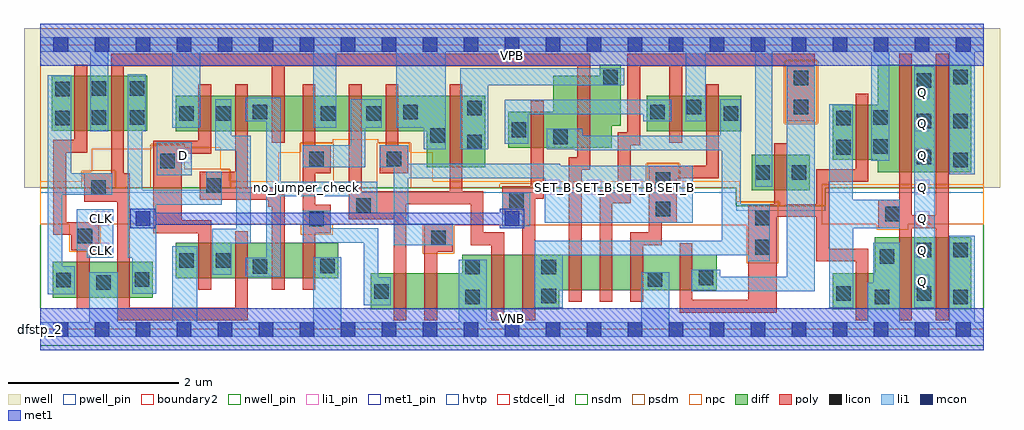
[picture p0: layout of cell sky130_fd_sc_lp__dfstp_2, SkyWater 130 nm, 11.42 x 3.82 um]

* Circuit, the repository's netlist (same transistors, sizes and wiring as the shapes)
* Copyright 2020 The SkyWater PDK Authors
*
* Licensed under the Apache License, Version 2.0 (the "License");
* you may not use this file except in compliance with the License.
* You may obtain a copy of the License at
*
*     https://www.apache.org/licenses/LICENSE-2.0
*
* Unless required by applicable law or agreed to in writing, software
* distributed under the License is distributed on an "AS IS" BASIS,
* WITHOUT WARRANTIES OR CONDITIONS OF ANY KIND, either express or implied.
* See the License for the specific language governing permissions and
* limitations under the License.
*
* SPDX-License-Identifier: Apache-2.0

.SUBCKT sky130_fd_sc_lp__dfstp_2 CLK D SET_B VGND VNB VPB VPWR Q
*.PININFO CLK:I D:I SET_B:I VGND:I VNB:I VPB:I VPWR:I Q:O
MI36 net120 M0 VGND VNB sky130_fd_pr__nfet_01v8 m=1 w=0.64U l=0.15U mult=1 sa=0.265
+ sb=0.265 sd=0.28 area=0.063 perim=1.14
MI42 db clkneg M0 VNB sky130_fd_pr__nfet_01v8 m=1 w=0.42U l=0.15U mult=1 sa=0.265
+ sb=0.265 sd=0.28 area=0.063 perim=1.14
MI44 clkneg CLK VGND VNB sky130_fd_pr__nfet_01v8 m=1 w=0.42U l=0.15U mult=1 sa=0.265
+ sb=0.265 sd=0.28 area=0.063 perim=1.14
MI39 db D VGND VNB sky130_fd_pr__nfet_01v8 m=1 w=0.42U l=0.15U mult=1 sa=0.265
+ sb=0.265 sd=0.28 area=0.063 perim=1.14
MI656 M1 M0 net103 VNB sky130_fd_pr__nfet_01v8 m=1 w=0.42U l=0.15U mult=1 sa=0.265
+ sb=0.265 sd=0.28 area=0.063 perim=1.14
MI654 net100 M1 VGND VNB sky130_fd_pr__nfet_01v8 m=1 w=0.42U l=0.15U mult=1 sa=0.265
+ sb=0.265 sd=0.28 area=0.063 perim=1.14
MI34 S0 clkpos net120 VNB sky130_fd_pr__nfet_01v8 m=1 w=0.64U l=0.15U mult=1 sa=0.265
+ sb=0.265 sd=0.28 area=0.063 perim=1.14
MI46 clkpos clkneg VGND VNB sky130_fd_pr__nfet_01v8 m=1 w=0.42U l=0.15U mult=1
+ sa=0.265 sb=0.265 sd=0.28 area=0.063 perim=1.14
MI25 net88 SET_B VGND VNB sky130_fd_pr__nfet_01v8 m=1 w=0.42U l=0.15U mult=1 sa=0.265
+ sb=0.265 sd=0.28 area=0.063 perim=1.14
MI26 S0 clkneg net80 VNB sky130_fd_pr__nfet_01v8 m=1 w=0.42U l=0.15U mult=1 sa=0.265
+ sb=0.265 sd=0.28 area=0.063 perim=1.14
MI27 net80 S1 net88 VNB sky130_fd_pr__nfet_01v8 m=1 w=0.42U l=0.15U mult=1 sa=0.265
+ sb=0.265 sd=0.28 area=0.063 perim=1.14
MI647 S1 S0 VGND VNB sky130_fd_pr__nfet_01v8 m=1 w=0.42U l=0.15U mult=1 sa=0.265
+ sb=0.265 sd=0.28 area=0.063 perim=1.14
MI655 M0 clkpos net100 VNB sky130_fd_pr__nfet_01v8 m=1 w=0.42U l=0.15U mult=1 sa=0.265
+ sb=0.265 sd=0.28 area=0.063 perim=1.14
MI657 net103 SET_B VGND VNB sky130_fd_pr__nfet_01v8 m=1 w=0.42U l=0.15U mult=1
+ sa=0.265 sb=0.265 sd=0.28 area=0.063 perim=1.14
MI652 net128 S0 VGND VNB sky130_fd_pr__nfet_01v8 m=1 w=0.42U l=0.15U mult=1 sa=0.265
+ sb=0.265 sd=0.28 area=0.063 perim=1.14
MI653 Q net128 VGND VNB sky130_fd_pr__nfet_01v8 m=2 w=0.84U l=0.15U mult=1 sa=0.265
+ sb=0.265 sd=0.28 area=0.063 perim=1.14
MI40 db D VPWR VPB sky130_fd_pr__pfet_01v8_hvt m=1 w=0.42U l=0.15U mult=1 sa=0.265
+ sb=0.265 sd=0.28 area=0.063 perim=1.14
MI38 S0 clkneg net179 VPB sky130_fd_pr__pfet_01v8_hvt m=1 w=0.84U l=0.15U mult=1
+ sa=0.265 sb=0.265 sd=0.28 area=0.063 perim=1.14
MI37 net179 M0 VPWR VPB sky130_fd_pr__pfet_01v8_hvt m=1 w=0.84U l=0.15U mult=1
+ sa=0.265 sb=0.265 sd=0.28 area=0.063 perim=1.14
MI43 db clkpos M0 VPB sky130_fd_pr__pfet_01v8_hvt m=1 w=0.42U l=0.15U mult=1 sa=0.265
+ sb=0.265 sd=0.28 area=0.063 perim=1.14
MI45 clkneg CLK VPWR VPB sky130_fd_pr__pfet_01v8_hvt m=1 w=0.64U l=0.15U mult=1
+ sa=0.265 sb=0.265 sd=0.28 area=0.063 perim=1.14
MI47 clkpos clkneg VPWR VPB sky130_fd_pr__pfet_01v8_hvt m=1 w=0.64U l=0.15U mult=1
+ sa=0.265 sb=0.265 sd=0.28 area=0.063 perim=1.14
MI659 M1 SET_B VPWR VPB sky130_fd_pr__pfet_01v8_hvt m=1 w=0.42U l=0.15U mult=1
+ sa=0.265 sb=0.265 sd=0.28 area=0.063 perim=1.14
MI662 net156 M1 VPWR VPB sky130_fd_pr__pfet_01v8_hvt m=1 w=0.42U l=0.15U mult=1
+ sa=0.265 sb=0.265 sd=0.28 area=0.063 perim=1.14
MI664 M0 clkneg net156 VPB sky130_fd_pr__pfet_01v8_hvt m=1 w=0.42U l=0.15U mult=1
+ sa=0.265 sb=0.265 sd=0.28 area=0.063 perim=1.14
MI6 net143 S1 VPWR VPB sky130_fd_pr__pfet_01v8_hvt m=1 w=0.42U l=0.15U mult=1 sa=0.265
+ sb=0.265 sd=0.28 area=0.063 perim=1.14
MI5 S0 clkpos net143 VPB sky130_fd_pr__pfet_01v8_hvt m=1 w=0.42U l=0.15U mult=1
+ sa=0.265 sb=0.265 sd=0.28 area=0.063 perim=1.14
MI24 S0 SET_B VPWR VPB sky130_fd_pr__pfet_01v8_hvt m=1 w=0.42U l=0.15U mult=1 sa=0.265
+ sb=0.265 sd=0.28 area=0.063 perim=1.14
MI648 S1 S0 VPWR VPB sky130_fd_pr__pfet_01v8_hvt m=1 w=0.42U l=0.15U mult=1 sa=0.265
+ sb=0.265 sd=0.28 area=0.063 perim=1.14
MI658 M1 M0 VPWR VPB sky130_fd_pr__pfet_01v8_hvt m=1 w=0.42U l=0.15U mult=1 sa=0.265
+ sb=0.265 sd=0.28 area=0.063 perim=1.14
MI663 net128 S0 VPWR VPB sky130_fd_pr__pfet_01v8_hvt m=1 w=0.64U l=0.15U mult=1
+ sa=0.265 sb=0.265 sd=0.28 area=0.063 perim=1.14
MI660 Q net128 VPWR VPB sky130_fd_pr__pfet_01v8_hvt m=2 w=1.26U l=0.15U mult=1
+ sa=0.265 sb=0.265 sd=0.28 area=0.063 perim=1.14
.ENDS sky130_fd_sc_lp__dfstp_2

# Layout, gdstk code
import gdstk
lib = gdstk.Library(unit=1e-6, precision=1e-09)
def R(c, l, rs):  # rectangles x0, y0, x1, y1
    for r in rs: c.add(gdstk.rectangle(r[:2], r[2:], *l))
def A(c, l, x, y, w, h, nx, ny, dx, dy):  # array of equal rectangles
    R(c, l, [(x+i*dx, y+j*dy, x+i*dx+w, y+j*dy+h) for i in range(nx) for j in range(ny)])
def P(c, l, *ps):  # polygons
    for p in ps: c.add(gdstk.Polygon(p, *l))
nwell_pin = (64, 16)
nwell = (64, 20)
diff = (65, 20)
poly = (66, 20)
licon = (66, 44)
li1_pin = (67, 16)
li1 = (67, 20)
mcon = (67, 44)
met1_pin = (68, 16)
met1 = (68, 20)
hvtp = (78, 44)
stdcell_id = (81, 4)
nsdm = (93, 44)
psdm = (94, 20)
npc = (95, 20)
pwell_pin = (122, 16)
boundary2 = (236, 0)

sky130_fd_sc_lp__dfstp_2 = lib.new_cell('sky130_fd_sc_lp__dfstp_2')
R(sky130_fd_sc_lp__dfstp_2, nwell_pin, [(0,3.085,11.04,3.33)])
P(sky130_fd_sc_lp__dfstp_2, nwell, [(11.23,3.52),(-0.19,3.52),(-0.19,1.655),(8.145,1.655),(8.145,1.445),(9.185,1.445),(9.185,1.655),(11.23,1.655)])
R(sky130_fd_sc_lp__dfstp_2, diff, [(0.145,0.37,1.315,0.79), (1.585,0.595,3.485,1.015), (8.325,1.625,9.005,2.045), (7.095,2.315,8.205,2.735), (0.135,2.325,1.255,2.965)])
P(sky130_fd_sc_lp__dfstp_2, diff, [(5.205,2.735),(1.585,2.735),(1.585,2.315),(4.525,2.315),(4.525,1.895),(5.205,1.895)],
  [(6.795,3.095),(6.545,3.095),(6.545,2.965),(6,2.965),(6,2.545),(5.475,2.545),(5.475,2.125),(6.685,2.125),(6.685,2.38),(6.795,2.38)],
  [(7.915,0.875),(4.935,0.875),(4.935,0.655),(3.87,0.655),(3.87,0.235),(6.075,0.235),(6.075,0.455),(7.915,0.455)],
  [(10.895,3.095),(9.8,3.095),(9.8,2.625),(9.275,2.625),(9.275,1.985),(9.8,1.985),(9.8,1.835),(10.895,1.835)],
  [(10.895,1.075),(9.765,1.075),(9.765,0.655),(9.275,0.655),(9.275,0.235),(10.895,0.235)])
P(sky130_fd_sc_lp__dfstp_2, poly, [(0.69,1.255),(0.305,1.255),(0.305,2.065),(0.55,2.065),(0.55,3.095),(0.4,3.095),(0.4,2.215),(0.155,2.215),(0.155,1.105),(0.36,1.105),(0.36,0.925),(0.43,0.925),(0.43,0.24),(0.58,0.24),(0.58,0.925),(0.69,0.925)],
  [(2,1.275),(1.655,1.275),(1.655,2.055),(2,2.055),(2,2.865),(1.85,2.865),(1.85,2.205),(1.325,2.205),(1.325,1.125),(1.85,1.125),(1.85,0.465),(2,0.465)],
  [(2.86,1.585),(2.82,1.585),(2.82,1.665),(2.43,1.665),(2.43,2.865),(2.28,2.865),(2.28,1.845),(1.865,1.845),(1.865,1.515),(2.67,1.515),(2.67,1.435),(2.71,1.435),(2.71,0.465),(2.86,0.465)],
  [(3.4,1.455),(3.22,1.455),(3.22,1.825),(3.4,1.825),(3.4,2.155),(3.22,2.155),(3.22,2.865),(3.07,2.865),(3.07,0.465),(3.22,0.465),(3.22,1.125),(3.4,1.125)],
  [(4.305,2.155),(4.19,2.155),(4.19,2.865),(4.04,2.865),(4.04,2.155),(3.975,2.155),(3.975,1.825),(4.305,1.825)],
  [(4.825,1.235),(4.495,1.235),(4.495,0.105),(4.645,0.105),(4.645,0.905),(4.825,0.905)],
  [(5.43,1.135),(5.185,1.135),(5.185,1.615),(4.94,1.615),(4.94,2.865),(4.79,2.865),(4.79,1.615),(3.76,1.615),(3.76,2.865),(3.61,2.865),(3.61,1.285),(4.135,1.285),(4.135,0.105),(4.285,0.105),(4.285,1.465),(5.035,1.465),(5.035,0.985),(5.28,0.985),(5.28,0.105),(5.43,0.105)],
  [(5.89,2.675),(5.74,2.675),(5.74,1.675),(5.405,1.675),(5.405,1.345),(5.64,1.345),(5.64,0.105),(5.79,0.105),(5.79,1.525),(5.89,1.525)],
  [(6.435,3.225),(0.83,3.225),(0.83,1.825),(0.515,1.825),(0.515,1.495),(0.9,1.495),(0.9,0.105),(2.43,0.105),(2.43,1.145),(2.28,1.145),(2.28,0.255),(1.05,0.255),(1.05,1.825),(0.98,1.825),(0.98,3.075),(2.71,3.075),(2.71,2.185),(2.86,2.185),(2.86,3.075),(6.285,3.075),(6.285,2.015),(6.185,2.015),(6.185,0.325),(6.335,0.325),(6.335,1.865),(6.435,1.865)],
  [(7.94,2.865),(7.79,2.865),(7.79,1.915),(7.12,1.915),(7.12,1.135),(6.905,1.135),(6.905,0.325),(7.055,0.325),(7.055,0.985),(7.27,0.985),(7.27,1.245),(7.45,1.245),(7.45,1.765),(7.94,1.765)],
  [(9.065,3.225),(6.87,3.225),(6.87,2.305),(6.76,2.305),(6.76,1.625),(6.545,1.625),(6.545,0.325),(6.695,0.325),(6.695,1.475),(6.91,1.475),(6.91,2.155),(7.02,2.155),(7.02,3.075),(7.36,3.075),(7.36,2.185),(7.51,2.185),(7.51,3.075),(8.735,3.075),(8.735,2.435),(9.065,2.435)],
  [(9.69,0.945),(9.23,0.945),(9.23,1.725),(9.69,1.725),(9.69,2.755),(9.54,2.755),(9.54,1.875),(9.08,1.875),(9.08,1.465),(8.74,1.465),(8.74,2.175),(8.59,2.175),(8.59,1.465),(8.285,1.465),(8.285,0.345),(7.63,0.345),(7.63,1.005),(7.48,1.005),(7.48,0.195),(8.615,0.195),(8.615,1.315),(9.08,1.315),(9.08,0.795),(9.54,0.795),(9.54,0.105),(9.69,0.105)],
  [(10.63,3.225),(10.48,3.225),(10.48,1.335),(10.2,1.335),(10.2,3.225),(10.05,3.225),(10.05,1.515),(9.805,1.515),(9.805,1.185),(10.05,1.185),(10.05,0.105),(10.2,0.105),(10.2,1.185),(10.48,1.185),(10.48,0.105),(10.63,0.105)])
R(sky130_fd_sc_lp__dfstp_2, licon, [(4.975,0.295,5.145,0.465), (9.765,0.295,9.935,0.465), (10.685,0.295,10.855,0.465), (5.865,0.305,6.035,0.475), (9.315,0.335,9.485,0.505), (10.255,0.335,10.425,0.505), (3.91,0.36,4.08,0.53), (0.655,0.46,0.825,0.63), (0.185,0.49,0.355,0.66), (1.105,0.495,1.275,0.665), (7.11,0.495,7.28,0.665), (7.705,0.515,7.875,0.685), (4.975,0.645,5.145,0.815), (5.865,0.645,6.035,0.815), (2.485,0.65,2.655,0.82), (3.275,0.655,3.445,0.825), (1.625,0.72,1.795,0.89), (2.055,0.72,2.225,0.89), (9.825,0.765,9.995,0.935), (10.255,0.845,10.425,1.015), (10.685,0.845,10.855,1.015), (8.365,0.875,8.535,1.045), (4.575,0.985,4.745,1.155), (0.44,1.005,0.61,1.175), (3.15,1.205,3.32,1.375), (8.365,1.215,8.535,1.385), (9.885,1.265,10.055,1.435), (7.2,1.325,7.37,1.495), (3.695,1.365,3.865,1.535), (5.485,1.425,5.655,1.595), (0.595,1.575,0.765,1.745), (1.945,1.595,2.115,1.765), (7.2,1.665,7.37,1.835), (8.365,1.75,8.535,1.92), (8.795,1.75,8.965,1.92), (1.405,1.885,1.575,2.055), (10.685,1.895,10.855,2.065), (3.15,1.905,3.32,2.075), (4.055,1.905,4.225,2.075), (10.255,1.93,10.425,2.1), (9.315,2.045,9.485,2.215), (9.745,2.055,9.915,2.225), (4.995,2.105,5.165,2.275), (6.005,2.165,6.175,2.335), (4.565,2.185,4.735,2.355), (5.515,2.25,5.685,2.42), (10.255,2.35,10.425,2.52), (10.685,2.355,10.855,2.525), (0.175,2.385,0.345,2.555), (9.315,2.385,9.485,2.555), (0.605,2.395,0.775,2.565), (1.045,2.395,1.215,2.565), (9.745,2.395,9.915,2.565), (1.625,2.44,1.795,2.61), (2.055,2.44,2.225,2.61), (3.285,2.44,3.455,2.61), (3.815,2.44,3.985,2.61), (7.995,2.44,8.165,2.61), (4.245,2.455,4.415,2.625), (7.135,2.455,7.305,2.625), (2.485,2.46,2.655,2.63), (4.995,2.505,5.165,2.675), (7.565,2.515,7.735,2.685), (8.815,2.515,8.985,2.685), (0.175,2.725,0.345,2.895), (0.605,2.735,0.775,2.905), (1.045,2.735,1.215,2.905), (10.255,2.825,10.425,2.995), (8.815,2.855,8.985,3.025), (6.585,2.865,6.755,3.035), (10.685,2.865,10.855,3.035)])
A(sky130_fd_sc_lp__dfstp_2, li1_pin, 10.235, 0.47, 0.17, 0.17, 1, 7, 0, 0.37)
A(sky130_fd_sc_lp__dfstp_2, li1_pin, 5.915, 1.58, 0.17, 0.17, 4, 1, 0.48, 0)
R(sky130_fd_sc_lp__dfstp_2, li1_pin, [(0.635,0.84,0.805,1.01), (0.635,1.21,0.805,1.38), (1.595,1.95,1.765,2.12)])
R(sky130_fd_sc_lp__dfstp_2, li1, [(10.225,0.255,10.465,3.075), (5.405,1.205,5.735,1.595), (1.365,1.805,1.775,2.19)])
P(sky130_fd_sc_lp__dfstp_2, li1, [(4.305,1.935),(6.085,1.935),(6.085,1.915),(7.635,1.915),(7.635,1.245),(5.905,1.245),(5.905,1.765),(4.305,1.765),(4.305,1.235),(4.825,1.235),(4.825,0.985),(4.135,0.985),(4.135,1.895),(3.975,1.895),(3.975,2.155),(4.305,2.155)],
  [(0.855,1.405),(0.43,1.405),(0.43,0.925),(0.545,0.925),(0.545,0.84),(0.855,0.84)],
  [(2.405,2.435),(2.405,2.71),(2.815,2.71),(2.815,1.725),(3.945,1.725),(3.945,1.355),(3.615,1.355),(3.615,1.555),(2.815,1.555),(2.815,0.615),(2.405,0.615),(2.405,0.835),(2.645,0.835),(2.645,2.435)],
  [(11.04,3.415),(0,3.415),(0,3.245),(0.585,3.245),(0.585,2.315),(0.795,2.315),(0.795,3.245),(1.545,3.245),(1.545,2.36),(1.875,2.36),(1.875,3.245),(3.195,3.245),(3.195,2.36),(3.465,2.36),(3.465,3.245),(4.165,3.245),(4.165,2.36),(4.485,2.36),(4.485,2.105),(4.745,2.105),(4.745,3.245),(7.555,3.245),(7.555,2.435),(7.785,2.435),(7.785,3.245),(8.365,3.245),(8.365,1.67),(8.565,1.67),(8.565,3.245),(9.725,3.245),(9.725,1.975),(9.935,1.975),(9.935,3.245),(10.635,3.245),(10.635,1.815),(10.935,1.815),(10.935,3.245),(11.04,3.245)],
  [(11.04,0.085),(10.935,0.085),(10.935,1.095),(10.635,1.095),(10.635,0.085),(10.055,0.085),(10.055,1.015),(9.745,1.015),(9.745,0.545),(9.685,0.545),(9.685,0.085),(7.36,0.085),(7.36,0.665),(7.03,0.665),(7.03,0.085),(5.225,0.085),(5.225,0.815),(4.895,0.815),(4.895,0.085),(3.525,0.085),(3.525,0.845),(3.195,0.845),(3.195,0.085),(1.84,0.085),(1.84,0.97),(1.545,0.97),(1.545,0.085),(0.905,0.085),(0.905,0.67),(0.575,0.67),(0.575,0.085),(0,0.085),(0,-0.085),(11.04,-0.085)],
  [(5.785,0.255),(5.785,1.035),(7.975,1.035),(7.975,2.095),(6.255,2.095),(6.255,2.105),(5.925,2.105),(5.925,2.345),(6.35,2.345),(6.35,2.265),(7.955,2.265),(7.955,2.69),(8.195,2.69),(8.195,1.465),(8.535,1.465),(8.535,0.795),(8.285,0.795),(8.285,0.865),(6.115,0.865),(6.115,0.255)],
  [(9.505,1.515),(10.055,1.515),(10.055,1.185),(9.515,1.185),(9.515,0.255),(9.235,0.255),(9.235,2.635),(9.505,2.635)],
  [(7.955,0.615),(8.735,0.615),(8.735,3.075),(9.065,3.075),(9.065,0.445),(7.625,0.445),(7.625,0.695),(7.955,0.695)],
  [(5.245,2.855),(5.245,2.105),(4.915,2.105),(4.915,3.055),(6.835,3.055),(6.835,2.855)],
  [(7.055,2.515),(5.71,2.515),(5.71,2.17),(5.435,2.17),(5.435,2.685),(7.385,2.685),(7.385,2.435),(7.055,2.435)],
  [(3.635,2.155),(3.635,2.69),(3.995,2.69),(3.995,2.36),(3.805,2.36),(3.805,1.895),(3.07,1.895),(3.07,2.155)],
  [(2.295,1.175),(2.295,2.095),(2.045,2.095),(2.045,2.69),(2.235,2.69),(2.235,2.265),(2.465,2.265),(2.465,1.005),(2.235,1.005),(2.235,0.64),(2.01,0.64),(2.01,1.175)],
  [(2.125,1.845),(1.945,1.845),(1.945,1.635),(1.195,1.635),(1.195,2.315),(1.235,2.315),(1.235,2.985),(1.025,2.985),(1.025,0.84),(1.075,0.84),(1.075,0.415),(1.355,0.415),(1.355,1.455),(2.125,1.455)],
  [(0.365,1.825),(0.845,1.825),(0.845,1.575),(0.26,1.575),(0.26,0.74),(0.405,0.74),(0.405,0.41),(0.09,0.41),(0.09,2.975),(0.365,2.975)],
  [(3.785,1.015),(3.07,1.015),(3.07,1.385),(3.4,1.385),(3.4,1.185),(3.955,1.185),(3.955,0.61),(4.1,0.61),(4.1,0.28),(3.785,0.28)])
A(sky130_fd_sc_lp__dfstp_2, mcon, 0.155, -0.085, 0.17, 0.17, 23, 2, 0.48, 3.33)
R(sky130_fd_sc_lp__dfstp_2, mcon, [(1.115,1.21,1.285,1.38), (5.435,1.21,5.605,1.38)])
R(sky130_fd_sc_lp__dfstp_2, met1_pin, [(0,0,11.04,0.245), (0,3.085,11.04,3.33)])
R(sky130_fd_sc_lp__dfstp_2, met1, [(0,-0.245,11.04,0.245), (0,3.085,11.04,3.575)])
P(sky130_fd_sc_lp__dfstp_2, met1, [(1.345,1.365),(5.375,1.365),(5.375,1.41),(5.665,1.41),(5.665,1.18),(5.375,1.18),(5.375,1.225),(1.345,1.225),(1.345,1.18),(1.055,1.18),(1.055,1.41),(1.345,1.41)])
P(sky130_fd_sc_lp__dfstp_2, hvtp, [(11.04,3.33),(0,3.33),(0,1.6),(8.145,1.6),(8.145,1.39),(9.185,1.39),(9.185,1.6),(11.04,1.6)])
R(sky130_fd_sc_lp__dfstp_2, stdcell_id, [(0,0,11.04,3.33)])
P(sky130_fd_sc_lp__dfstp_2, nsdm, [(11.04,1.655),(9.185,1.655),(9.185,1.445),(8.145,1.445),(8.145,1.655),(0,1.655),(0,-0.19),(11.04,-0.19)])
P(sky130_fd_sc_lp__dfstp_2, psdm, [(11.04,3.52),(9.095,3.52),(9.095,2.405),(8.705,2.405),(8.705,3.135),(9.095,3.135),(9.095,3.52),(0,3.52),(0,1.655),(0.485,1.655),(0.485,1.855),(0.875,1.855),(0.875,1.655),(1.295,1.655),(1.295,2.165),(1.685,2.165),(1.685,1.875),(2.225,1.875),(2.225,1.655),(3.04,1.655),(3.04,2.185),(3.43,2.185),(3.43,1.655),(3.945,1.655),(3.945,2.185),(4.335,2.185),(4.335,1.655),(5.375,1.655),(5.375,1.705),(5.765,1.705),(5.765,1.655),(7.09,1.655),(7.09,1.945),(7.48,1.945),(7.48,1.655),(8.145,1.655),(8.145,1.495),(8.645,1.495),(8.645,1.445),(9.185,1.445),(9.185,1.655),(11.04,1.655)])
R(sky130_fd_sc_lp__dfstp_2, npc, [(8.715,2.415,9.085,3.155)])
P(sky130_fd_sc_lp__dfstp_2, npc, [(11.04,1.695),(9.145,1.695),(9.145,1.23),(9.785,1.23),(9.785,1.165),(10.155,1.165),(10.155,1.23),(11.04,1.23)],
  [(8.635,1.485),(8.185,1.485),(8.185,1.73),(7.47,1.73),(7.47,1.935),(7.1,1.935),(7.1,1.73),(4.59,1.73),(4.59,2.07),(4.325,2.07),(4.325,2.175),(3.955,2.175),(3.955,2.225),(3.42,2.225),(3.42,2.175),(3.05,2.175),(3.05,2.07),(2.785,2.07),(2.785,1.73),(2.215,1.73),(2.215,1.865),(2.11,1.865),(2.11,2.13),(1.675,2.13),(1.675,2.155),(1.305,2.155),(1.305,2.11),(0.6,2.11),(0.6,1.845),(0.495,1.845),(0.495,1.73),(0,1.73),(0,1.23),(0.34,1.23),(0.34,0.905),(0.71,0.905),(0.71,1.23),(3.05,1.23),(3.05,1.105),(3.42,1.105),(3.42,1.23),(4.475,1.23),(4.475,0.885),(4.845,0.885),(4.845,1.215),(8.265,1.215),(8.265,0.775),(8.635,0.775)])
R(sky130_fd_sc_lp__dfstp_2, pwell_pin, [(0,0,11.04,0.245)])
R(sky130_fd_sc_lp__dfstp_2, boundary2, [(0,0,11.04,3.33)])
sky130_fd_sc_lp__dfstp_2.add(gdstk.Label('VNB', (5.52,0.123), layer=64, texttype=59))
sky130_fd_sc_lp__dfstp_2.add(gdstk.Label('VPB', (5.52,3.208), layer=64, texttype=5))
sky130_fd_sc_lp__dfstp_2.add(gdstk.Label('dfstp_2', (0,0), layer=83, texttype=44))
sky130_fd_sc_lp__dfstp_2.add(gdstk.Label('no_jumper_check', (3.12,1.66), layer=83, texttype=44))
sky130_fd_sc_lp__dfstp_2.add(gdstk.Label('VPWR', (5.52,3.208), layer=68, texttype=5))
sky130_fd_sc_lp__dfstp_2.add(gdstk.Label('VGND', (5.52,0.123), layer=68, texttype=5))
sky130_fd_sc_lp__dfstp_2.add(gdstk.Label('SET_B', (6,1.665), layer=67, texttype=5))
sky130_fd_sc_lp__dfstp_2.add(gdstk.Label('SET_B', (6.48,1.665), layer=67, texttype=5))
sky130_fd_sc_lp__dfstp_2.add(gdstk.Label('SET_B', (6.96,1.665), layer=67, texttype=5))
sky130_fd_sc_lp__dfstp_2.add(gdstk.Label('SET_B', (7.44,1.665), layer=67, texttype=5))
sky130_fd_sc_lp__dfstp_2.add(gdstk.Label('CLK', (0.72,0.925), layer=67, texttype=5))
sky130_fd_sc_lp__dfstp_2.add(gdstk.Label('CLK', (0.72,1.295), layer=67, texttype=5))
sky130_fd_sc_lp__dfstp_2.add(gdstk.Label('D', (1.68,2.035), layer=67, texttype=5))
sky130_fd_sc_lp__dfstp_2.add(gdstk.Label('Q', (10.32,0.555), layer=67, texttype=5))
sky130_fd_sc_lp__dfstp_2.add(gdstk.Label('Q', (10.32,0.925), layer=67, texttype=5))
sky130_fd_sc_lp__dfstp_2.add(gdstk.Label('Q', (10.32,1.295), layer=67, texttype=5))
sky130_fd_sc_lp__dfstp_2.add(gdstk.Label('Q', (10.32,1.665), layer=67, texttype=5))
sky130_fd_sc_lp__dfstp_2.add(gdstk.Label('Q', (10.32,2.035), layer=67, texttype=5))
sky130_fd_sc_lp__dfstp_2.add(gdstk.Label('Q', (10.32,2.405), layer=67, texttype=5))
sky130_fd_sc_lp__dfstp_2.add(gdstk.Label('Q', (10.32,2.775), layer=67, texttype=5))

lib.write_gds('sky130_fd_sc_lp__dfstp_2.gds')
